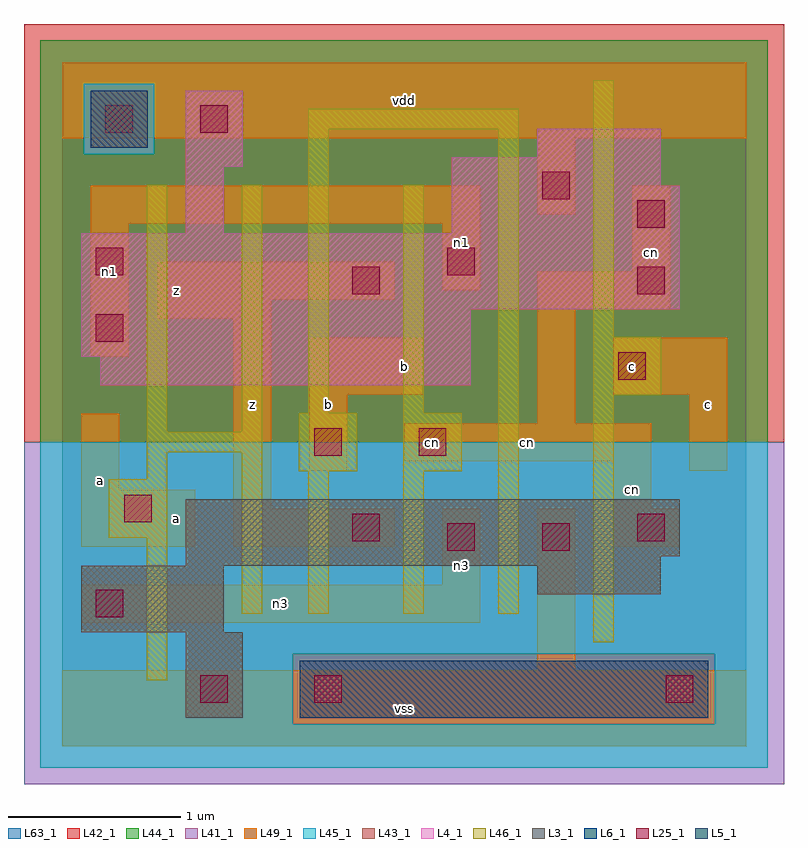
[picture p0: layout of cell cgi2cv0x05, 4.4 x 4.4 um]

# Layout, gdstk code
import gdstk
lib = gdstk.Library(unit=1e-6, precision=1e-09)
def R(c, l, rs):  # rectangles x0, y0, x1, y1
    for r in rs: c.add(gdstk.rectangle(r[:2], r[2:], *l))
L3_1 = (3, 1)
L4_1 = (4, 1)
L5_1 = (5, 1)
L6_1 = (6, 1)
L25_1 = (25, 1)
L41_1 = (41, 1)
L42_1 = (42, 1)
L43_1 = (43, 1)
L44_1 = (44, 1)
L45_1 = (45, 1)
L46_1 = (46, 1)
L49_1 = (49, 1)
L63_1 = (63, 1)

cgi2cv0x05 = lib.new_cell('cgi2cv0x05')
R(cgi2cv0x05, L3_1, [(0.715,0.165,1.045,0.66), (0.11,0.66,0.935,1.045), (2.75,0.88,3.465,1.045), (0.715,1.045,3.465,1.1), (0.715,1.1,3.575,1.43)])
R(cgi2cv0x05, L4_1, [(0.22,2.09,2.365,2.255), (0.11,2.255,2.365,2.53), (0.11,2.53,3.575,2.97), (0.715,2.97,0.935,3.355), (2.255,2.97,3.575,3.245), (2.255,3.245,3.465,3.41), (0.715,3.355,1.045,3.795), (2.75,3.41,3.465,3.575)])
R(cgi2cv0x05, L5_1, [(0.165,3.465,0.495,3.795)])
R(cgi2cv0x05, L6_1, [(1.375,0.165,3.74,0.495)])
R(cgi2cv0x05, L25_1, [(0.8,0.25,0.96,0.41), (1.46,0.25,1.62,0.41), (3.495,0.25,3.655,0.41), (0.195,0.745,0.355,0.905), (2.23,1.13,2.39,1.29), (2.78,1.13,2.94,1.29), (1.68,1.185,1.84,1.345), (3.33,1.185,3.49,1.345), (0.36,1.295,0.52,1.455), (1.46,1.68,1.62,1.84), (2.065,1.68,2.225,1.84), (3.22,2.12,3.38,2.28), (0.195,2.34,0.355,2.5), (1.68,2.615,1.84,2.775), (3.33,2.615,3.49,2.775), (0.195,2.725,0.355,2.885), (2.23,2.725,2.39,2.885), (3.33,3,3.49,3.16), (2.78,3.165,2.94,3.325), (0.25,3.55,0.41,3.71), (0.8,3.55,0.96,3.71)])
R(cgi2cv0x05, L41_1, [(-0.22,-0.22,4.18,1.76)])
R(cgi2cv0x05, L42_1, [(-0.22,1.76,4.18,4.18)])
R(cgi2cv0x05, L43_1, [(0.715,0.165,1.045,0.66), (1.375,0.165,3.74,0.495), (0.11,0.66,0.935,1.045), (2.75,0.88,3.465,1.045), (0.715,1.045,3.465,1.1), (0.715,1.1,3.575,1.43), (0.22,2.09,2.365,2.255), (0.11,2.255,2.365,2.53), (0.11,2.53,3.575,2.97), (0.715,2.97,0.935,3.355), (2.255,2.97,3.575,3.245), (2.255,3.245,3.465,3.41), (0.715,3.355,1.045,3.795), (2.75,3.41,3.465,3.575), (0.165,3.465,0.495,3.795)])
R(cgi2cv0x05, L44_1, [(1.335,0.125,3.78,0.535), (-0.125,1.76,4.085,3.425), (-0.125,3.425,0.125,3.835), (0.535,3.425,4.085,3.835), (-0.125,3.835,4.085,4.085)])
R(cgi2cv0x05, L45_1, [(-0.125,-0.125,4.085,0.125), (-0.125,0.125,1.335,0.535), (3.78,0.125,4.085,0.535), (-0.125,0.535,4.085,1.76), (0.125,3.425,0.535,3.835)])
R(cgi2cv0x05, L46_1, [(0.49,0.38,0.61,1.205), (3.075,0.6,3.195,2.03), (1.04,0.765,1.16,1.7), (1.425,0.765,1.545,1.59), (1.975,0.765,2.095,1.59), (2.525,0.765,2.645,3.57), (0.27,1.205,0.61,1.545), (0.49,1.545,0.61,1.7), (1.37,1.59,1.71,1.93), (1.975,1.59,2.315,1.93), (0.49,1.7,1.16,1.82), (0.49,1.82,0.61,3.25), (1.04,1.82,1.16,3.25), (1.425,1.93,1.545,3.57), (1.975,1.93,2.095,3.25), (3.075,2.03,3.47,2.37), (3.075,2.37,3.195,3.855), (1.425,3.57,2.645,3.69)])
R(cgi2cv0x05, L49_1, [(0,0,3.96,0.44), (2.75,0.44,2.97,1.375), (0.11,0.715,2.42,0.935), (2.2,0.935,2.42,1.375), (0.11,1.155,0.77,1.485), (0.99,1.155,1.925,1.375), (3.19,1.155,3.575,1.375), (0.99,1.375,1.21,2.475), (3.19,1.375,3.41,1.65), (0.11,1.485,0.33,1.925), (1.43,1.595,1.65,2.035), (3.63,1.595,3.85,2.035), (1.98,1.65,3.41,1.87), (2.75,1.87,2.97,2.53), (1.43,2.035,2.09,2.365), (3.19,2.035,3.85,2.365), (0.165,2.255,0.385,3.025), (0.55,2.475,1.21,2.585), (2.75,2.53,3.52,2.75), (0.55,2.585,1.925,2.805), (2.2,2.64,2.42,3.025), (3.3,2.75,3.52,3.245), (0.165,3.025,2.42,3.245), (2.75,3.08,2.97,3.52), (0,3.52,3.96,3.96)])
R(cgi2cv0x05, L63_1, [(0,0,3.96,3.96)])
cgi2cv0x05.add(gdstk.Label('cn', (2.145,1.76), layer=49, texttype=1))
cgi2cv0x05.add(gdstk.Label('a', (0.22,1.54), layer=49, texttype=1))
cgi2cv0x05.add(gdstk.Label('a', (0.66,1.32), layer=49, texttype=1))
cgi2cv0x05.add(gdstk.Label('z', (0.66,2.64), layer=49, texttype=1))
cgi2cv0x05.add(gdstk.Label('n1', (0.275,2.75), layer=49, texttype=1))
cgi2cv0x05.add(gdstk.Label('b', (1.54,1.98), layer=49, texttype=1))
cgi2cv0x05.add(gdstk.Label('z', (1.1,1.98), layer=49, texttype=1))
cgi2cv0x05.add(gdstk.Label('vss', (1.98,0.22), layer=49, texttype=1))
cgi2cv0x05.add(gdstk.Label('n3', (1.265,0.825), layer=49, texttype=1))
cgi2cv0x05.add(gdstk.Label('n3', (2.31,1.045), layer=49, texttype=1))
cgi2cv0x05.add(gdstk.Label('b', (1.98,2.2), layer=49, texttype=1))
cgi2cv0x05.add(gdstk.Label('n1', (2.31,2.915), layer=49, texttype=1))
cgi2cv0x05.add(gdstk.Label('vdd', (1.98,3.74), layer=49, texttype=1))
cgi2cv0x05.add(gdstk.Label('cn', (2.695,1.76), layer=49, texttype=1))
cgi2cv0x05.add(gdstk.Label('cn', (3.3,1.485), layer=49, texttype=1))
cgi2cv0x05.add(gdstk.Label('c', (3.74,1.98), layer=49, texttype=1))
cgi2cv0x05.add(gdstk.Label('c', (3.3,2.2), layer=49, texttype=1))
cgi2cv0x05.add(gdstk.Label('cn', (3.41,2.86), layer=49, texttype=1))

lib.write_gds('cgi2cv0x05.gds')
